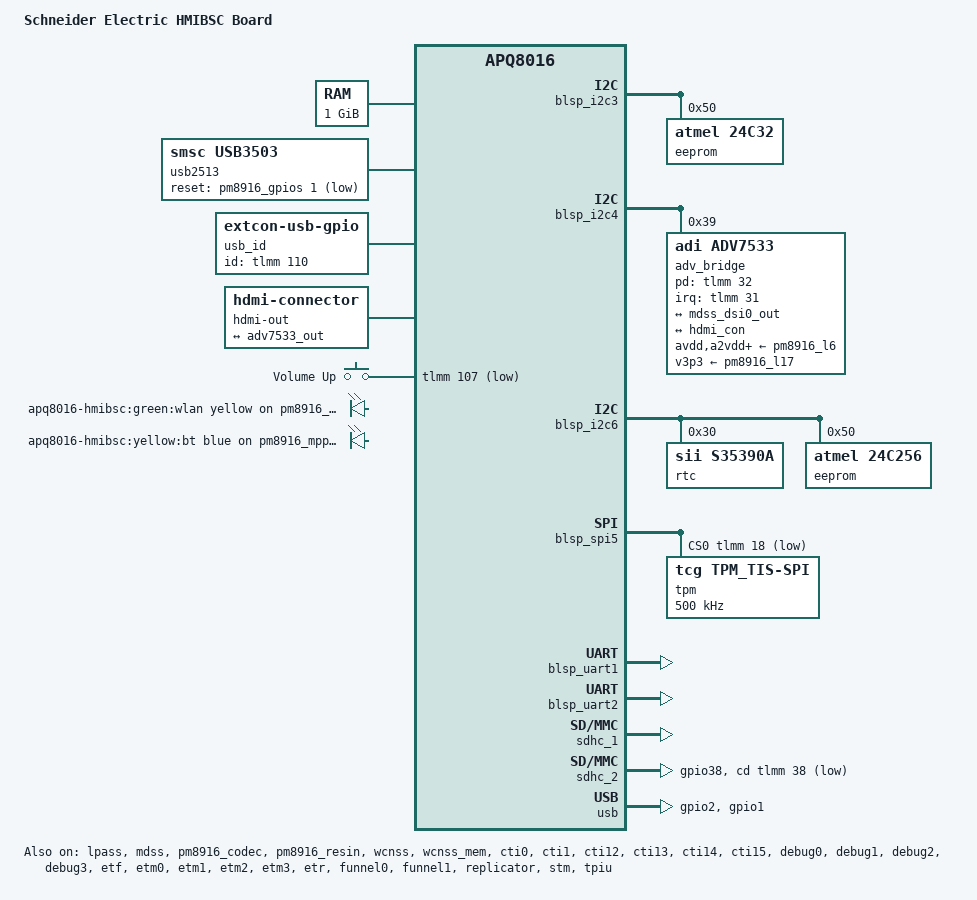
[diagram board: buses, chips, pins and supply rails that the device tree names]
// SPDX-License-Identifier: GPL-2.0-only
/*
 * Copyright (c) 2015, The Linux Foundation. All rights reserved.
 * Copyright (c) 2024, Linaro Ltd.
 */

/dts-v1/;

#include "msm8916-pm8916.dtsi"
#include <dt-bindings/gpio/gpio.h>
#include <dt-bindings/input/input.h>
#include <dt-bindings/leds/common.h>
#include <dt-bindings/pinctrl/qcom,pmic-gpio.h>
#include <dt-bindings/pinctrl/qcom,pmic-mpp.h>
#include <dt-bindings/sound/apq8016-lpass.h>

/ {
	model = "Schneider Electric HMIBSC Board";
	compatible = "schneider,apq8016-hmibsc", "qcom,apq8016";

	aliases {
		mmc0 = &sdhc_1; /* eMMC */
		mmc1 = &sdhc_2; /* SD card */
		serial0 = &blsp_uart1;
		serial1 = &blsp_uart2;
		usid0 = &pm8916_0;
		i2c1 = &blsp_i2c6;
		i2c3 = &blsp_i2c4;
		i2c4 = &blsp_i2c3;
		spi0 = &blsp_spi5;
	};

	chosen {
		stdout-path = "serial0";
	};

	memory@80000000 {
		reg = <0 0x80000000 0 0x40000000>;
	};

	reserved-memory {
		ramoops@bff00000 {
			compatible = "ramoops";
			reg = <0x0 0xbff00000 0x0 0x100000>;

			record-size = <0x20000>;
			console-size = <0x20000>;
			ftrace-size = <0x20000>;
		};
	};

	usb2513 {
		compatible = "smsc,usb3503";
		reset-gpios = <&pm8916_gpios 1 GPIO_ACTIVE_LOW>;
		initial-mode = <1>;
	};

	usb_id: usb-id {
		compatible = "linux,extcon-usb-gpio";
		id-gpios = <&tlmm 110 GPIO_ACTIVE_HIGH>;
		pinctrl-names = "default";
		pinctrl-0 = <&usb_id_default>;
	};

	hdmi-out {
		compatible = "hdmi-connector";
		type = "a";

		port {
			hdmi_con: endpoint {
				remote-endpoint = <&adv7533_out>;
			};
		};
	};

	gpio-keys {
		compatible = "gpio-keys";
		autorepeat;

		pinctrl-names = "default";
		pinctrl-0 = <&msm_key_volp_n_default>;

		button {
			label = "Volume Up";
			linux,code = <KEY_VOLUMEUP>;
			gpios = <&tlmm 107 GPIO_ACTIVE_LOW>;
		};
	};

	leds {
		pinctrl-names = "default";
		pinctrl-0 = <&pm8916_mpps_leds>;

		compatible = "gpio-leds";
		#address-cells = <1>;
		#size-cells = <0>;

		led@5 {
			reg = <5>;
			label = "apq8016-hmibsc:green:wlan";
			function = LED_FUNCTION_WLAN;
			color = <LED_COLOR_ID_YELLOW>;
			gpios = <&pm8916_mpps 2 GPIO_ACTIVE_HIGH>;
			linux,default-trigger = "phy0tx";
			default-state = "off";
		};

		led@6 {
			reg = <6>;
			label = "apq8016-hmibsc:yellow:bt";
			function = LED_FUNCTION_BLUETOOTH;
			color = <LED_COLOR_ID_BLUE>;
			gpios = <&pm8916_mpps 3 GPIO_ACTIVE_HIGH>;
			linux,default-trigger = "bluetooth-power";
			default-state = "off";
		};
	};
};

&blsp_i2c3 {
	status = "okay";

	eeprom@50 {
		compatible = "atmel,24c32";
		reg = <0x50>;
	};
};

&blsp_i2c4 {
	status = "okay";

	adv_bridge: bridge@39 {
		status = "okay";

		compatible = "adi,adv7533";
		reg = <0x39>;

		interrupt-parent = <&tlmm>;
		interrupts = <31 IRQ_TYPE_EDGE_FALLING>;

		adi,dsi-lanes = <4>;
		clocks = <&rpmcc RPM_SMD_BB_CLK2>;
		clock-names = "cec";

		pd-gpios = <&tlmm 32 GPIO_ACTIVE_HIGH>;

		avdd-supply = <&pm8916_l6>;
		a2vdd-supply = <&pm8916_l6>;
		dvdd-supply = <&pm8916_l6>;
		pvdd-supply = <&pm8916_l6>;
		v1p2-supply = <&pm8916_l6>;
		v3p3-supply = <&pm8916_l17>;

		pinctrl-names = "default","sleep";
		pinctrl-0 = <&adv7533_int_active &adv7533_switch_active>;
		pinctrl-1 = <&adv7533_int_suspend &adv7533_switch_suspend>;
		#sound-dai-cells = <1>;

		ports {
			#address-cells = <1>;
			#size-cells = <0>;

			port@0 {
				reg = <0>;
				adv7533_in: endpoint {
					remote-endpoint = <&mdss_dsi0_out>;
				};
			};

			port@1 {
				reg = <1>;
				adv7533_out: endpoint {
					remote-endpoint = <&hdmi_con>;
				};
			};
		};
	};
};

&blsp_i2c6 {
	status = "okay";

	rtc@30 {
		compatible = "sii,s35390a";
		reg = <0x30>;
	};

	eeprom@50 {
		compatible = "atmel,24c256";
		reg = <0x50>;
	};
};

&blsp_spi5 {
	status = "okay";
	cs-gpios = <&tlmm 18 GPIO_ACTIVE_LOW>;

	tpm@0 {
		compatible = "tcg,tpm_tis-spi";
		reg = <0>;
		spi-max-frequency = <500000>;
	};
};

&blsp_uart1 {
	status = "okay";
	label = "UART0";
};

&blsp_uart2 {
	status = "okay";
	label = "UART1";
};

&lpass {
	status = "okay";
};

&mdss {
	status = "okay";
};

&mdss_dsi0_out {
	data-lanes = <0 1 2 3>;
	remote-endpoint = <&adv7533_in>;
};

&pm8916_codec {
	status = "okay";
	qcom,mbhc-vthreshold-low = <75 150 237 450 500>;
	qcom,mbhc-vthreshold-high = <75 150 237 450 500>;
};

&pm8916_resin {
	status = "okay";
	linux,code = <KEY_POWER>;
};

&pm8916_rpm_regulators {
	pm8916_l17: l17 {
		regulator-min-microvolt = <3300000>;
		regulator-max-microvolt = <3300000>;
	};
};

&sdhc_1 {
	status = "okay";
};

&sdhc_2 {
	status = "okay";

	pinctrl-names = "default", "sleep";
	pinctrl-0 = <&sdc2_default &sdc2_cd_default>;
	pinctrl-1 = <&sdc2_sleep &sdc2_cd_default>;

	cd-gpios = <&tlmm 38 GPIO_ACTIVE_LOW>;
};

&sound {
	status = "okay";

	pinctrl-0 = <&cdc_pdm_default &sec_mi2s_default>;
	pinctrl-1 = <&cdc_pdm_sleep &sec_mi2s_sleep>;
	pinctrl-names = "default", "sleep";
	model = "DB410c";
	audio-routing =
		"AMIC2", "MIC BIAS Internal2",
		"AMIC3", "MIC BIAS External1";

	quaternary-dai-link {
		link-name = "ADV7533";
		cpu {
			sound-dai = <&lpass MI2S_QUATERNARY>;
		};
		codec {
			sound-dai = <&adv_bridge 0>;
		};
	};

	primary-dai-link {
		link-name = "WCD";
		cpu {
			sound-dai = <&lpass MI2S_PRIMARY>;
		};
		codec {
			sound-dai = <&lpass_codec 0>, <&pm8916_codec 0>;
		};
	};

	tertiary-dai-link {
		link-name = "WCD-Capture";
		cpu {
			sound-dai = <&lpass MI2S_TERTIARY>;
		};
		codec {
			sound-dai = <&lpass_codec 1>, <&pm8916_codec 1>;
		};
	};
};

&usb {
	status = "okay";
	extcon = <&usb_id>, <&usb_id>;

	pinctrl-names = "default", "device";
	pinctrl-0 = <&usb_sw_sel_pm &usb_hub_reset_pm>;
	pinctrl-1 = <&usb_sw_sel_pm_device &usb_hub_reset_pm_device>;
};

&usb_hs_phy {
	extcon = <&usb_id>;
};

&wcnss {
	status = "okay";
	firmware-name = "qcom/apq8016/wcnss.mbn";
};

&wcnss_ctrl {
	firmware-name = "qcom/apq8016/WCNSS_qcom_wlan_nv_sbc.bin";
};

&wcnss_iris {
	compatible = "qcom,wcn3620";
};

&wcnss_mem {
	status = "okay";
};

/* Enable CoreSight */
&cti0 { status = "okay"; };
&cti1 { status = "okay"; };
&cti12 { status = "okay"; };
&cti13 { status = "okay"; };
&cti14 { status = "okay"; };
&cti15 { status = "okay"; };
&debug0 { status = "okay"; };
&debug1 { status = "okay"; };
&debug2 { status = "okay"; };
&debug3 { status = "okay"; };
&etf { status = "okay"; };
&etm0 { status = "okay"; };
&etm1 { status = "okay"; };
&etm2 { status = "okay"; };
&etm3 { status = "okay"; };
&etr { status = "okay"; };
&funnel0 { status = "okay"; };
&funnel1 { status = "okay"; };
&replicator { status = "okay"; };
&stm { status = "okay"; };
&tpiu { status = "okay"; };

/*
 * 2mA drive strength is not enough when connecting multiple
 * I2C devices with different pull up resistors.
 */

&blsp_i2c4_default {
	drive-strength = <16>;
};

&blsp_i2c6_default {
	drive-strength = <16>;
};

&tlmm {
	pinctrl-names = "default";
	pinctrl-0 = <&uart1_mux0_rs232_high &uart1_mux1_rs232_low>;

	sdc2_cd_default: sdc2-cd-default-state {
		pins = "gpio38";
		function = "gpio";
		drive-strength = <2>;
		bias-disable;
	};

	usb_id_default: usb-id-default-state {
		pins = "gpio110";
		function = "gpio";

		drive-strength = <8>;
		bias-pull-up;
	};

	adv7533_int_active: adv533-int-active-state {
		pins = "gpio31";
		function = "gpio";

		drive-strength = <16>;
		bias-disable;
	};

	adv7533_int_suspend: adv7533-int-suspend-state {
		pins = "gpio31";
		function = "gpio";

		drive-strength = <2>;
		bias-disable;
	};

	adv7533_switch_active: adv7533-switch-active-state {
		pins = "gpio32";
		function = "gpio";

		drive-strength = <16>;
		bias-disable;
	};

	adv7533_switch_suspend: adv7533-switch-suspend-state {
		pins = "gpio32";
		function = "gpio";

		drive-strength = <2>;
		bias-disable;
	};

	msm_key_volp_n_default: msm-key-volp-n-default-state {
		pins = "gpio107";
		function = "gpio";

		drive-strength = <8>;
		bias-pull-up;
	};

	/*
	 * UART1 being the debug console supports various modes of
	 * operation (RS-232/485/422) controlled via GPIOs configured
	 * mux as follows:
	 *
	 *   gpio100    gpio99    UART mode
	 *   0          0         loopback
	 *   0          1         RS-232
	 *   1          0         RS-485
	 *   1          1         RS-422
	 *
	 * The default mode configured here is RS-232 mode.
	 */
	uart1_mux0_rs232_high: uart1-mux0-rs232-state {
		bootph-all;
		pins = "gpio99";
		function = "gpio";

		drive-strength = <16>;
		bias-disable;
		output-high;
	};

	uart1_mux1_rs232_low: uart1-mux1-rs232-state {
		bootph-all;
		pins = "gpio100";
		function = "gpio";

		drive-strength = <16>;
		bias-disable;
		output-low;
	};
};

&pm8916_gpios {
	gpio-line-names =
		"USB_HUB_RESET_N_PM",
		"USB_SW_SEL_PM",
		"NC",
		"NC";

	usb_hub_reset_pm: usb-hub-reset-pm-state {
		pins = "gpio1";
		function = PMIC_GPIO_FUNC_NORMAL;

		input-disable;
		output-high;
	};

	usb_hub_reset_pm_device: usb-hub-reset-pm-device-state {
		pins = "gpio1";
		function = PMIC_GPIO_FUNC_NORMAL;

		output-low;
	};

	usb_sw_sel_pm: usb-sw-sel-pm-state {
		pins = "gpio2";
		function = PMIC_GPIO_FUNC_NORMAL;

		power-source = <PM8916_GPIO_VPH>;
		input-disable;
		output-high;
	};

	usb_sw_sel_pm_device: usb-sw-sel-pm-device-state {
		pins = "gpio2";
		function = PMIC_GPIO_FUNC_NORMAL;

		power-source = <PM8916_GPIO_VPH>;
		input-disable;
		output-low;
	};
};

&pm8916_mpps {
	gpio-line-names =
		"NC",
		"WLAN_LED_CTRL",
		"BT_LED_CTRL",
		"NC";

	pm8916_mpps_leds: pm8916-mpps-state {
		pins = "mpp2", "mpp3";
		function = "digital";

		output-low;
	};
};

&blsp_uart1_default {
	bootph-all;
};
